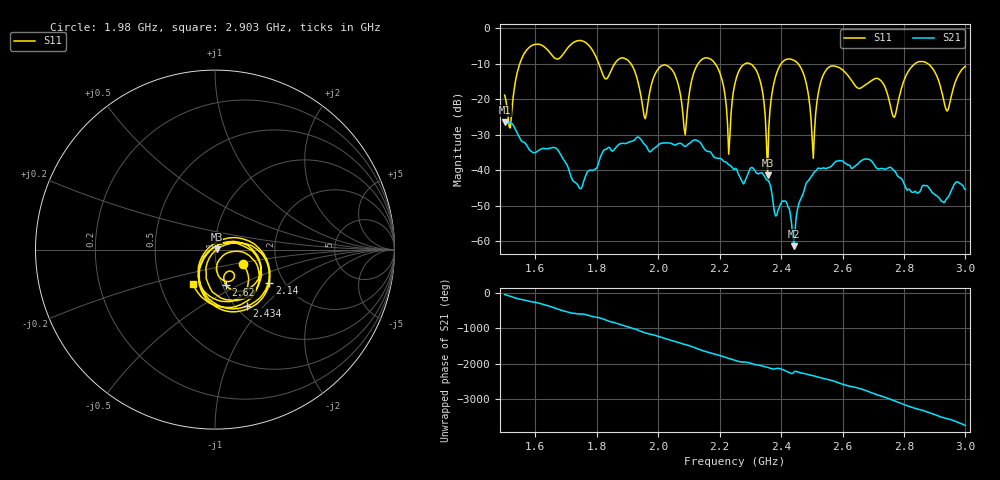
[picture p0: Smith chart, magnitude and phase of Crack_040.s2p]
# HZ S RI R 50
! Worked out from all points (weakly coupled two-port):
!   404 points, 1.5 GHz to 3 GHz, reference 50 ohm
!   highest |S21| = -26.53 dB at 1.5 GHz (marker M1); lowest = -61.4 dB at 2.442 GHz (marker M2)
!   lowest |S11| = -41.5 dB at 2.356 GHz (marker M3), VSWR 1.02, Z = 50.8 + j0.0652 ohm
!   |S11| at or under -10 dB: 1.911 GHz to 2.13 GHz (219.5 MHz wide, 10.9 % of centre); 2.455 GHz to 2.837 GHz (381.7 MHz wide, 14.4 % of centre); 2.877 GHz to end of sweep (the widest 3 of 7)
!   S12 and S22 are empty: the file has one direction only
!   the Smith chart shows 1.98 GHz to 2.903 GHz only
!   S11 on the Smith chart (normalised r, x): 1.98 GHz: 1.34, -0.22; 2.14 GHz: 1.68, -0.71; 2.434 GHz: 1.12, -0.81; 2.62 GHz: 1.04, -0.43; 2.903 GHz: 0.73, -0.30
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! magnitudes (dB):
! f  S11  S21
! 1.5 GHz  -18.9  -26.5
! 1.582 GHz  -5.3  -34.4
! 1.753 GHz  -3.6  -44.5
! 1.958 GHz  -25.6  -32.9
! 1.98 GHz  -15.2  -34.4
! 2.002 GHz  -11.2  -32.7
! 2.088 GHz  -30.1  -33.4
! 2.14 GHz  -9.0  -32.7
! 2.23 GHz  -35.5  -38.5
! 2.252 GHz  -14.9  -39.5
! 2.315 GHz  -11.3  -40.2
! 2.356 GHz  -41.5  -42.9
! 2.386 GHz  -12.6  -52.8
! 2.434 GHz  -8.8  -55.0
! 2.442 GHz  -9.1  -61.4
! 2.501 GHz  -31.3  -41.5
! 2.546 GHz  -11.9  -39.6
! 2.62 GHz  -13.7  -38.6
! 2.751 GHz  -20.0  -39.3
! 2.903 GHz  -12.8  -47.1
! 2.94 GHz  -23.4  -48.0
! 3 GHz  -10.8  -45.5
